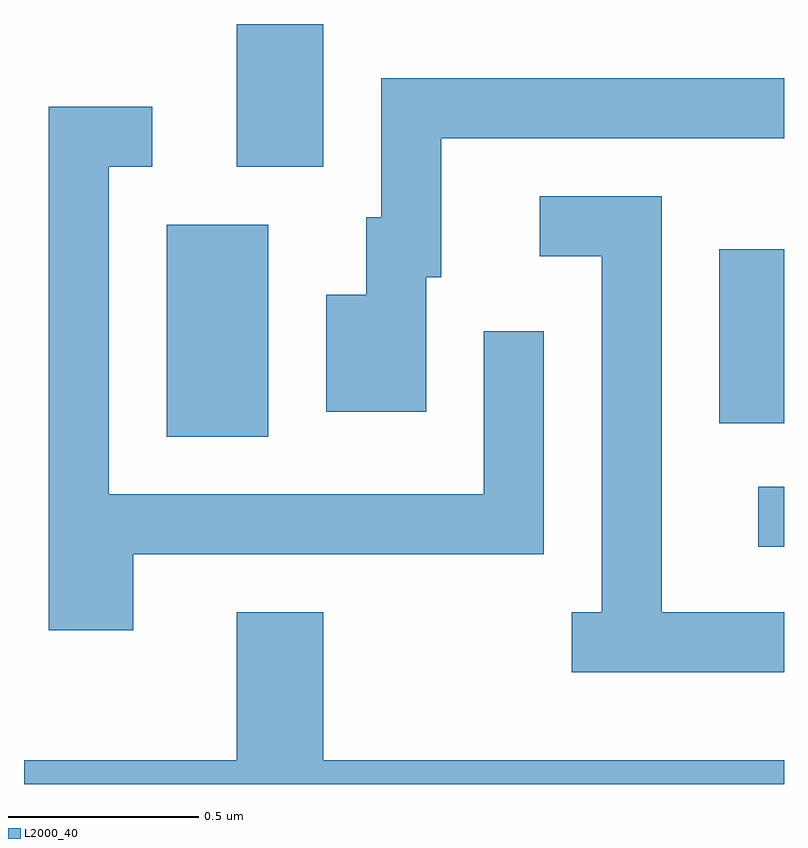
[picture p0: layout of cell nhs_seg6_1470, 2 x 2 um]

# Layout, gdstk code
import gdstk
lib = gdstk.Library(unit=1e-6, precision=1e-09)
def R(c, l, rs):  # rectangles x0, y0, x1, y1
    for r in rs: c.add(gdstk.rectangle(r[:2], r[2:], *l))
def P(c, l, *ps):  # polygons
    for p in ps: c.add(gdstk.Polygon(p, *l))
L2000_40 = (2000, 40)

nhs_seg6_1470 = lib.new_cell('nhs_seg6_1470')
R(nhs_seg6_1470, L2000_40, [(197.543,1630.786,197.611,1630.944), (195.986,1631.076,196.254,1631.634), (197.441,1631.111,197.611,1631.569), (196.171,1631.786,196.399,1632.162)])
P(nhs_seg6_1470, L2000_40, [(196.669,1631.496),(196.709,1631.496),(196.709,1631.861),(197.611,1631.861),(197.611,1632.019),(196.551,1632.019),(196.551,1631.654),(196.511,1631.654),(196.511,1631.449),(196.406,1631.449),(196.406,1631.141),(196.669,1631.141)],
  [(195.899,1630.766),(196.979,1630.766),(196.979,1631.353),(196.821,1631.353),(196.821,1630.924),(195.834,1630.924),(195.834,1631.786),(195.948,1631.786),(195.948,1631.944),(195.676,1631.944),(195.676,1630.566),(195.899,1630.566)],
  [(197.611,1630.614),(197.289,1630.614),(197.289,1631.709),(196.968,1631.709),(196.968,1631.551),(197.131,1631.551),(197.131,1630.614),(197.053,1630.614),(197.053,1630.456),(197.611,1630.456)],
  [(197.611,1630.224),(196.399,1630.224),(196.399,1630.614),(196.171,1630.614),(196.171,1630.224),(195.611,1630.224),(195.611,1630.162),(197.611,1630.162)])

lib.write_gds('nhs_seg6_1470.gds')
